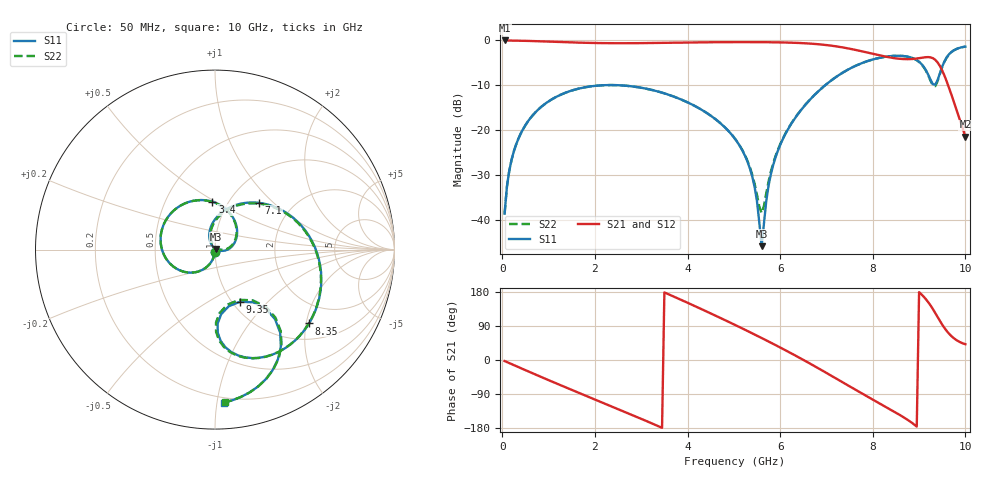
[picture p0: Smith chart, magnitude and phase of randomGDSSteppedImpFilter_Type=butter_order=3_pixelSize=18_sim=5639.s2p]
! freq	dB(S11)	phase(S11)	dB(S12)	phase(S12)
!  dB(S21)	phase(S21)	dB(S22)	phase(S22)
!S-par simulation data
#  GHz  S  DB  R 50
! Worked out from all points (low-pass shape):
!   200 points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, 50 MHz to 10 GHz, reference 50 ohm
!   highest |S21| = 0.00 dB at 50 MHz (marker M1); lowest = -21.4 dB at 10 GHz (marker M2)
!   |S21| within 3 dB of the highest: start of sweep to 8.011 GHz
!   lowest |S11| = -45.8 dB at 5.6 GHz (marker M3), VSWR 1.01, Z = 50.3 + j0.412 ohm
!   |S11| at or under -10 dB: start of sweep to 2.125 GHz; 2.573 GHz to 6.97 GHz (4.397 GHz wide, 92.1 % of centre)
!   |S22| runs from -38.5 to -1.4 dB; largest |S21 - S12| = 0
!   S11 on the Smith chart (normalised r, x): 50 MHz: 1.00, -0.02; 3.4 GHz: 0.84, +0.49; 7.1 GHz: 1.37, +0.82; 8.35 GHz: 1.40, -2.08; 9.35 GHz: 1.09, -0.70; 10 GHz: 0.17, -1.05
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0.05  -38.53 -92.6  -0.00 -2.7  -0.00 -2.7  -38.53 -92.6
0.2  -26.57 -101.1  -0.03 -10.8  -0.03 -10.8  -26.57 -101.1
0.5  -18.85 -117.2  -0.09 -26.9  -0.09 -26.9  -18.85 -117.2
1.15  -12.64 -151.6  -0.31 -60.9  -0.31 -60.9  -12.64 -151.5
1.75  -10.50 177.7  -0.52 -91.5  -0.52 -91.5  -10.50 177.9
2.5  -9.96 139.7  -0.62 -129.5  -0.62 -129.5  -9.96 140.0
3.4  -11.47 93.0  -0.55 -176.3  -0.55 -176.3  -11.47 93.7
4.15  -14.54 52.4  -0.44 142.8  -0.44 142.8  -14.54 53.7
5.05  -22.26 2.8  -0.37 91.1  -0.37 91.1  -22.21 7.2
5.4  -30.39 -12.3  -0.38 70.3  -0.38 70.3  -29.97 -0.3
5.5  -35.83 -9.5  -0.38 64.2  -0.38 64.2  -34.36 10.4
5.6  -45.78 52.8  -0.39 58.1  -0.39 58.1  -38.41 56.2
5.75  -32.29 124.5  -0.40 48.8  -0.40 48.8  -31.36 109.6
5.9  -26.02 121.4  -0.42 39.4  -0.42 39.4  -25.74 113.3
6.7  -12.57 73.9  -0.74 -13.2  -0.74 -13.2  -12.55 71.9
7.1  -8.93 46.8  -1.16 -41.1  -1.16 -41.1  -8.92 45.4
7.65  -5.54 8.6  -2.16 -80.1  -2.16 -80.1  -5.54 7.7
8.35  -3.53 -38.1  -3.75 -128.5  -3.75 -128.5  -3.53 -38.8
9.05  -5.23 -83.9  -3.87 173.3  -3.87 173.3  -5.28 -84.9
9.35  -9.84 -64.4  -4.32 124.0  -4.32 124.0  -10.16 -64.3
9.6  -3.71 -55.8  -9.22 76.1  -9.22 76.1  -3.76 -55.1
10  -1.37 -86.6  -21.41 41.7  -21.41 41.7  -1.38 -86.4
